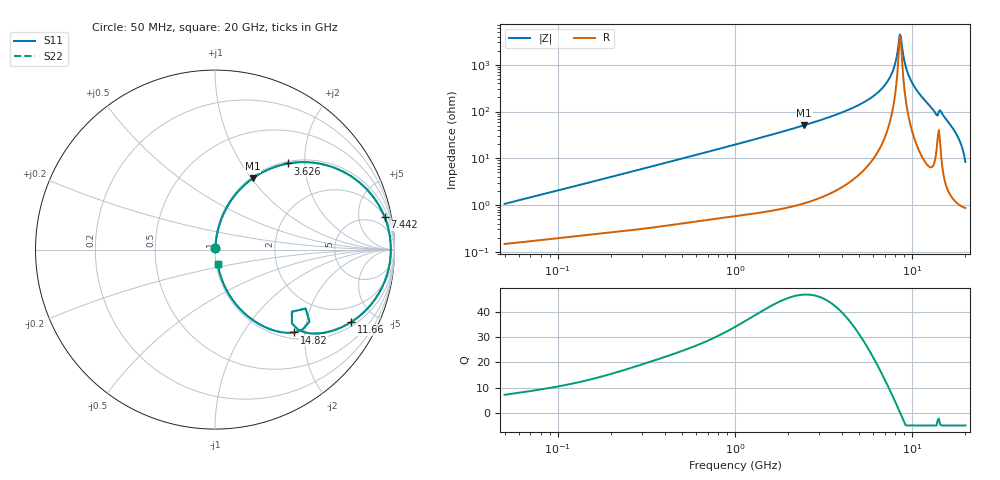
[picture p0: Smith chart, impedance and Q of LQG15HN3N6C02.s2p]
!Murata Part Number: LQG15HN3N6C02
!These Parameters are Measured in Series Mode Connection
!  o--[Z]--o
!Port1  Port2
!  o-------o
!Freq. Start=50[MHz] Stop=20[GHz], 401[Steps]
# Hz S RI R 50
!Freq.(Hz) S11(Real) S11(Imag) S21(Real) S21(Imag) S12(Real) S12(Imag) S22(Real) S22(Imag)
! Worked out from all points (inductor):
!   401 points, 50 MHz to 20 GHz, reference 50 ohm
!   read as one part in series: L = 3.31 nH near 51.52 MHz
!   highest Q = 46.8 at 2.456 GHz (marker M1), where L = 3.29 nH
!   self-resonance near 8.516 GHz
!   S11 on the Smith chart (normalised r, x): 50 MHz: 1.00, +0.02; 3.626 GHz: 1.04, +1.65; 7.442 GHz: 2, +10; 11.66 GHz: 1.18, -3.65; 14.82 GHz: 1.13, -1.76; 20 GHz: 1.02, -0.17
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5e7  0.00158 0.0105  0.9984 -0.0105  0.9984 -0.0105  0.00158 0.0105
1.364002e8  0.00298 0.0274  0.997 -0.0274  0.997 -0.0274  0.00298 0.0274
3.721004e8  0.00874 0.0726  0.9913 -0.0726  0.9913 -0.0726  0.00874 0.0726
1e9  0.0421 0.1866  0.9579 -0.1866  0.9579 -0.1866  0.0421 0.1866
2.456456e9  0.2105 0.3971  0.7895 -0.3971  0.7895 -0.3971  0.2105 0.3971
2.728004e9  0.253 0.4241  0.747 -0.4241  0.747 -0.4241  0.253 0.4241
3.626126e9  0.4077 0.4798  0.5923 -0.4798  0.5923 -0.4798  0.4077 0.4798
5.769027e9  0.7716 0.3998  0.2284 -0.3998  0.2284 -0.3998  0.7716 0.3998
6.701223e9  0.8856 0.2883  0.1144 -0.2883  0.1144 -0.2883  0.8856 0.2883
7.442007e9  0.9456 0.1796  0.0544 -0.1796  0.0544 -0.1796  0.9456 0.1796
7.901521e9  0.9679 0.1071  0.0321 -0.1071  0.0321 -0.1071  0.9679 0.1071
8.389408e9  0.9788 0.0284  0.0212 -0.0284  0.0212 -0.0284  0.9788 0.0284
8.644534e9  0.9793 -0.0127  0.0207 0.0127  0.0207 0.0127  0.9793 -0.0127
9.178299e9  0.9694 -0.0972  0.0306 0.0972  0.0306 0.0972  0.9694 -0.0972
9.600142e9  0.9515 -0.1611  0.0485 0.1611  0.0485 0.1611  0.9515 -0.1611
1.034674e10  0.9 -0.2644  0.1 0.2644  0.1 0.2644  0.9 -0.2644
1.166392e10  0.7588 -0.4036  0.2412 0.4036  0.2412 0.4036  0.7588 -0.4036
1.354865e10  0.4643 -0.4468  0.5357 0.4468  0.5357 0.4468  0.4643 -0.4468
1.417136e10  0.5049 -0.3286  0.4951 0.3286  0.4951 0.3286  0.5049 -0.3286
1.482269e10  0.4426 -0.4614  0.5574 0.4614  0.5574 0.4614  0.4426 -0.4614
1.774144e10  0.1089 -0.2949  0.8911 0.2949  0.8911 0.2949  0.1089 -0.2949
2e10  0.0153 -0.0814  0.9847 0.0814  0.9847 0.0814  0.0153 -0.0814
